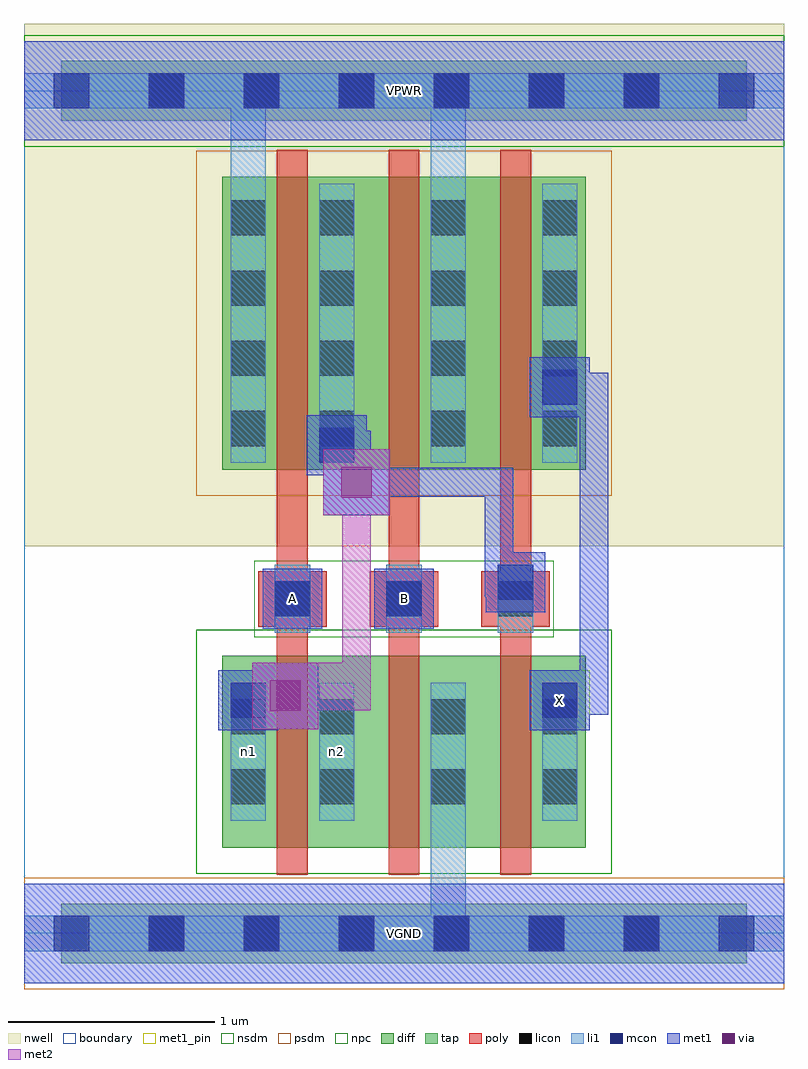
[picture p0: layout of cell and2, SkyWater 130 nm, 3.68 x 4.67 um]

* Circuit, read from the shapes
.subckt and2 A B VGND VPWR X n1 n2
XM1 n2 A n1 VGND sky130_fd_pr__nfet_01v8 w=0.93 l=0.15
XM2 VGND B n2 VGND sky130_fd_pr__nfet_01v8 w=0.93 l=0.15
XM3 X n1 VGND VGND sky130_fd_pr__nfet_01v8 w=0.93 l=0.15
XM4 n1 A VPWR VPWR sky130_fd_pr__pfet_01v8 w=1.42 l=0.15
XM5 VPWR B n1 VPWR sky130_fd_pr__pfet_01v8 w=1.42 l=0.15
XM6 X n1 VPWR VPWR sky130_fd_pr__pfet_01v8 w=1.42 l=0.15
.ends

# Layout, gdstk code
import gdstk
lib = gdstk.Library(unit=1e-6, precision=1e-09)
def R(c, l, rs):  # rectangles x0, y0, x1, y1
    for r in rs: c.add(gdstk.rectangle(r[:2], r[2:], *l))
def A(c, l, x, y, w, h, nx, ny, dx, dy):  # array of equal rectangles
    R(c, l, [(x+i*dx, y+j*dy, x+i*dx+w, y+j*dy+h) for i in range(nx) for j in range(ny)])
nwell = (64, 20)
diff = (65, 20)
tap = (65, 44)
poly = (66, 20)
licon = (66, 44)
li1 = (67, 20)
mcon = (67, 44)
met1_pin = (68, 16)
met1 = (68, 20)
via = (68, 44)
met2 = (69, 20)
nsdm = (93, 44)
psdm = (94, 20)
npc = (95, 20)
boundary = (235, 4)

and2 = lib.new_cell('and2')
R(and2, nwell, [(0,1.875,3.68,4.405)])
R(and2, diff, [(0.96,0.415,2.72,1.345), (0.96,2.245,2.72,3.665)])
R(and2, tap, [(0.18,-0.145,3.5,0.145), (0.18,3.935,3.5,4.225)])
A(and2, poly, 1.225, 0.285, 0.15, 3.51, 3, 1, 0.54, 0)
A(and2, poly, 1.135, 1.485, 0.33, 0.27, 3, 1, 0.54, 0)
A(and2, licon, 0.605, -0.085, 0.17, 0.17, 6, 2, 0.46, 4.08)
A(and2, licon, 1.43, 0.625, 0.17, 0.17, 3, 2, 0.54, 0.34)
A(and2, licon, 1.215, 1.535, 0.17, 0.17, 3, 1, 0.54, 0)
A(and2, licon, 1, 2.36, 0.17, 0.17, 1, 4, 0, 0.34)
A(and2, licon, 1.43, 2.36, 0.17, 0.17, 3, 4, 0.54, 0.34)
R(and2, licon, [(1,0.625,1.17,0.795), (1,0.965,1.17,1.135)])
A(and2, li1, 1.43, 0.545, 0.17, 0.67, 3, 1, 0.54, 0)
A(and2, li1, 1.215, 1.455, 0.17, 0.33, 3, 1, 0.54, 0)
A(and2, li1, 1.43, 2.28, 0.17, 1.35, 3, 1, 0.54, 0)
R(and2, li1, [(0,-0.085,3.68,0.085), (1.97,-0.085,2.14,1.215), (1,0.545,1.17,1.215), (1,2.28,1.17,3.63), (1,2.28,1.17,4.165), (1.97,2.28,2.14,4.165), (0,3.995,3.68,4.165)])
A(and2, mcon, 0.145, -0.085, 0.17, 0.17, 8, 2, 0.46, 4.08)
R(and2, mcon, [(1,1.045,1.17,1.215), (2.51,1.045,2.68,1.215), (1.215,1.535,1.385,1.705), (1.755,1.535,1.925,1.705), (2.295,1.615,2.465,1.785), (1.43,2.28,1.6,2.45), (2.51,2.56,2.68,2.73)])
R(and2, met1_pin, [(0,-0.24,3.68,0.24), (2.45,0.985,2.74,1.275), (1.155,1.475,1.445,1.765), (1.695,1.475,1.985,1.765), (0,3.84,3.68,4.32)])
R(and2, met1, [(0,-0.24,3.68,0.24), (0.94,0.985,1.23,1.275), (2.45,0.985,2.74,1.275), (1.105,0.99,1.425,1.31), (1.015,1.06,1.335,1.2), (1.195,1.06,1.335,1.22), (2.525,1.06,2.83,1.2), (2.69,1.06,2.83,1.335), (2.69,1.195,2.83,2.715), (1.155,1.475,1.445,1.765), (1.695,1.475,1.985,1.765), (2.235,1.555,2.525,1.845), (2.23,1.63,2.45,1.77), (2.23,1.63,2.37,1.91), (2.23,1.77,2.37,2.255), (1.45,2.025,1.77,2.345), (1.54,2.115,1.68,2.435), (1.54,2.115,2.37,2.255), (1.37,2.22,1.66,2.51), (1.445,2.295,1.68,2.435), (2.45,2.5,2.74,2.79), (2.525,2.575,2.83,2.715), (0,3.84,3.68,4.32)])
R(and2, via, [(1.19,1.075,1.34,1.225), (1.535,2.11,1.685,2.26)])
R(and2, met2, [(1.105,0.99,1.425,1.31), (1.195,1.08,1.68,1.22), (1.425,1.08,1.54,1.31), (1.54,1.08,1.68,2.255), (1.45,2.025,1.77,2.345)])
R(and2, nsdm, [(0.835,0.29,2.845,1.47), (0,3.81,3.68,4.35)])
R(and2, psdm, [(0,-0.27,3.68,0.27), (0.835,2.12,2.845,3.79)])
R(and2, npc, [(1.115,1.435,2.565,1.805)])
R(and2, boundary, [(0,0,3.68,4.08)])
and2.add(gdstk.Label('n1', (1.085,0.88), layer=67, texttype=5))
and2.add(gdstk.Label('n2', (1.515,0.88), layer=67, texttype=5))
and2.add(gdstk.Label('A', (1.3,1.62), layer=68, texttype=5))
and2.add(gdstk.Label('B', (1.84,1.62), layer=68, texttype=5))
and2.add(gdstk.Label('X', (2.595,1.13), layer=68, texttype=5))
and2.add(gdstk.Label('VPWR', (1.84,4.08), layer=68, texttype=5))
and2.add(gdstk.Label('VGND', (1.84,0), layer=68, texttype=5))
and2.add(gdstk.Label('A', (1.3,1.62), layer=68, texttype=16))
and2.add(gdstk.Label('B', (1.84,1.62), layer=68, texttype=16))
and2.add(gdstk.Label('X', (2.595,1.13), layer=68, texttype=16))
and2.add(gdstk.Label('VPWR', (1.84,4.08), layer=68, texttype=16))
and2.add(gdstk.Label('VGND', (1.84,0), layer=68, texttype=16))

lib.write_gds('and2.gds')
